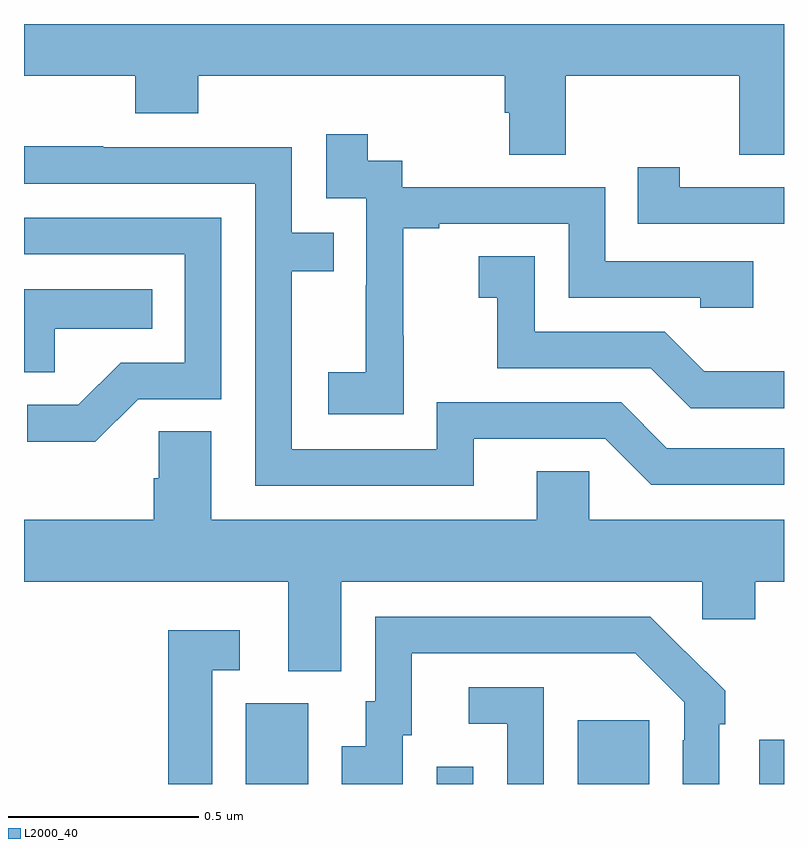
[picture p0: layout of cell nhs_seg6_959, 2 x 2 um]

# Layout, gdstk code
import gdstk
lib = gdstk.Library(unit=1e-6, precision=1e-09)
def R(c, l, rs):  # rectangles x0, y0, x1, y1
    for r in rs: c.add(gdstk.rectangle(r[:2], r[2:], *l))
def P(c, l, *ps):  # polygons
    for p in ps: c.add(gdstk.Polygon(p, *l))
L2000_40 = (2000, 40)

nhs_seg6_959 = lib.new_cell('nhs_seg6_959')
R(nhs_seg6_959, L2000_40, [(123.584,917.5,123.748,917.712), (124.086,917.5,124.182,917.545), (124.457,917.5,124.645,917.668), (124.935,917.5,125,917.617)])
P(nhs_seg6_959, L2000_40, [(124.425,919.364),(124.882,919.364),(124.882,919.156),(125,919.156),(125,919.5),(123,919.5),(123,919.364),(123.293,919.364),(123.293,919.265),(123.458,919.265),(123.458,919.364),(124.265,919.364),(124.265,919.266),(124.277,919.266),(124.277,919.156),(124.425,919.156)],
  [(123.999,918.679),(123.998,918.679),(123.998,918.963),(124.093,918.963),(124.093,918.975),(124.434,918.975),(124.434,918.78),(124.779,918.78),(124.779,918.753),(124.919,918.753),(124.919,918.876),(124.53,918.876),(124.53,919.071),(123.996,919.071),(123.996,919.14),(123.904,919.14),(123.904,919.21),(123.795,919.21),(123.795,919.041),(123.9,919.041),(123.9,918.812),(123.899,918.812),(123.899,918.583),(123.801,918.583),(123.801,918.473),(123.999,918.473)],
  [(124.183,918.408),(124.53,918.408),(124.65,918.288),(125,918.288),(125,918.384),(124.692,918.384),(124.572,918.504),(124.086,918.504),(124.086,918.381),(123.705,918.381),(123.705,918.85),(123.815,918.85),(123.815,918.951),(123.705,918.951),(123.705,919.176),(123.209,919.176),(123.209,919.178),(123,919.178),(123,919.08),(123.609,919.08),(123.609,918.285),(124.183,918.285)],
  [(125,919.071),(124.726,919.071),(124.726,919.123),(124.615,919.123),(124.615,918.975),(125,918.975)],
  [(123.3,918.513),(123.519,918.513),(123.519,918.99),(123,918.99),(123,918.894),(123.423,918.894),(123.423,918.609),(123.254,918.609),(123.143,918.498),(123.009,918.498),(123.009,918.401),(123.187,918.401)],
  [(125,918.586),(124.79,918.586),(124.686,918.69),(124.344,918.69),(124.344,918.889),(124.197,918.889),(124.197,918.779),(124.246,918.779),(124.246,918.594),(124.649,918.594),(124.754,918.489),(125,918.489)],
  [(123.081,918.698),(123.338,918.698),(123.338,918.802),(123,918.802),(123,918.583),(123.081,918.583)],
  [(123.835,918.032),(124.785,918.032),(124.785,917.934),(124.924,917.934),(124.924,918.032),(125,918.032),(125,918.196),(124.488,918.196),(124.488,918.323),(124.349,918.323),(124.349,918.196),(123.493,918.196),(123.493,918.428),(123.354,918.428),(123.354,918.305),(123.341,918.305),(123.341,918.196),(123,918.196),(123,918.032),(123.695,918.032),(123.695,917.797),(123.835,917.797)],
  [(123.997,917.628),(124.021,917.628),(124.021,917.844),(124.609,917.844),(124.737,917.715),(124.737,917.615),(124.734,917.615),(124.734,917.5),(124.83,917.5),(124.83,917.657),(124.845,917.657),(124.845,917.745),(124.74,917.85),(124.739,917.849),(124.648,917.94),(123.924,917.94),(123.924,917.718),(123.899,917.718),(123.899,917.599),(123.836,917.599),(123.836,917.5),(123.997,917.5)],
  [(123.495,917.799),(123.568,917.799),(123.568,917.905),(123.379,917.905),(123.379,917.5),(123.495,917.5)],
  [(124.368,917.754),(124.17,917.754),(124.17,917.658),(124.272,917.658),(124.272,917.5),(124.368,917.5)])

lib.write_gds('nhs_seg6_959.gds')
